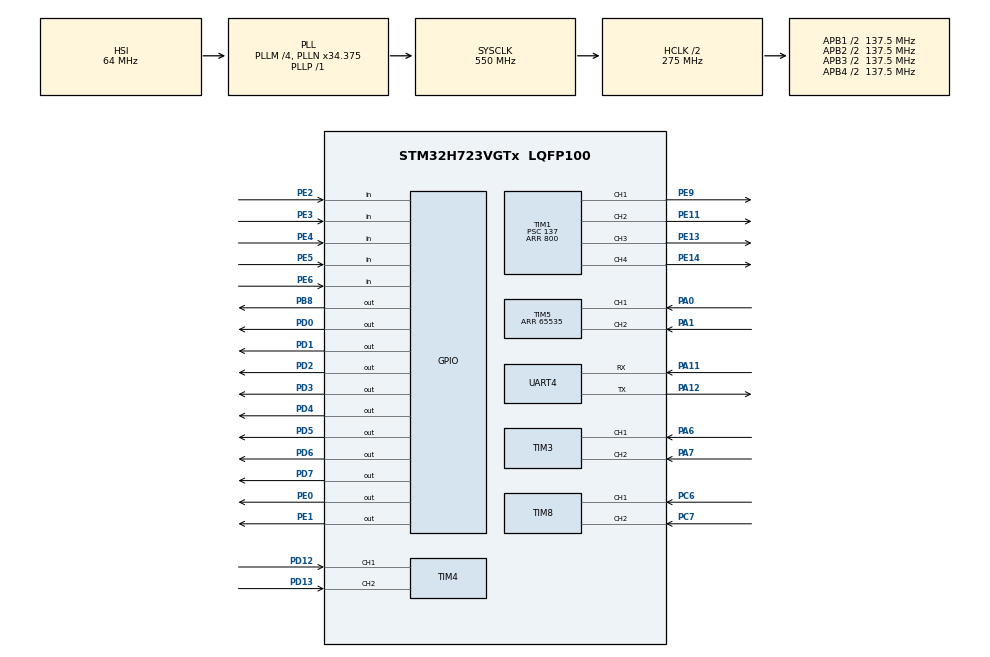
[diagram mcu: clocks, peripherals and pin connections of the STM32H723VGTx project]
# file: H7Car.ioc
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CORTEX_M7.default_mode_Activation=1
Dma.Request0=UART4_RX
Dma.Request1=UART4_TX
Dma.UART4_RX.0.Direction=DMA_PERIPH_TO_MEMORY
Dma.UART4_RX.0.EventEnable=DISABLE
Dma.UART4_RX.0.FIFOMode=DMA_FIFOMODE_DISABLE
Dma.UART4_RX.0.Instance=DMA1_Stream0
Dma.UART4_RX.0.MemDataAlignment=DMA_MDATAALIGN_BYTE
Dma.UART4_RX.0.MemInc=DMA_MINC_ENABLE
Dma.UART4_RX.0.Mode=DMA_CIRCULAR
Dma.UART4_RX.0.PeriphDataAlignment=DMA_PDATAALIGN_BYTE
Dma.UART4_RX.0.PeriphInc=DMA_PINC_DISABLE
Dma.UART4_RX.0.Polarity=HAL_DMAMUX_REQ_GEN_RISING
Dma.UART4_RX.0.Priority=DMA_PRIORITY_LOW
Dma.UART4_RX.0.RequestNumber=1
Dma.UART4_RX.0.SignalID=NONE
Dma.UART4_RX.0.SyncEnable=DISABLE
Dma.UART4_RX.0.SyncPolarity=HAL_DMAMUX_SYNC_NO_EVENT
Dma.UART4_RX.0.SyncRequestNumber=1
Dma.UART4_RX.0.SyncSignalID=NONE
Dma.UART4_TX.1.Direction=DMA_MEMORY_TO_PERIPH
Dma.UART4_TX.1.EventEnable=DISABLE
Dma.UART4_TX.1.FIFOMode=DMA_FIFOMODE_DISABLE
Dma.UART4_TX.1.Instance=DMA1_Stream7
Dma.UART4_TX.1.MemDataAlignment=DMA_MDATAALIGN_BYTE
Dma.UART4_TX.1.MemInc=DMA_MINC_ENABLE
Dma.UART4_TX.1.Mode=DMA_CIRCULAR
Dma.UART4_TX.1.PeriphDataAlignment=DMA_PDATAALIGN_BYTE
Dma.UART4_TX.1.PeriphInc=DMA_PINC_DISABLE
Dma.UART4_TX.1.Polarity=HAL_DMAMUX_REQ_GEN_RISING
Dma.UART4_TX.1.Priority=DMA_PRIORITY_LOW
Dma.UART4_TX.1.RequestNumber=1
Dma.UART4_TX.1.SignalID=NONE
Dma.UART4_TX.1.SyncEnable=DISABLE
Dma.UART4_TX.1.SyncPolarity=HAL_DMAMUX_SYNC_NO_EVENT
Dma.UART4_TX.1.SyncRequestNumber=1
Dma.UART4_TX.1.SyncSignalID=NONE
Mcu.Family=STM32H7
Mcu.Name=STM32H723VGTx
Mcu.Package=LQFP100
NVIC.DMA1_Stream0_IRQn=true\:0\:0\:false\:false\:true\:false\:true\:true
NVIC.DMA1_Stream7_IRQn=true\:0\:0\:false\:false\:true\:false\:true\:true
NVIC.PriorityGroup=NVIC_PRIORITYGROUP_4
NVIC.TIM6_DAC_IRQn=true\:0\:0\:false\:false\:true\:true\:true\:true
PA0.Signal=S_TIM5_CH1
PA1.Signal=S_TIM5_CH2
PA11.Mode=Asynchronous
PA11.Signal=UART4_RX
PA12.Mode=Asynchronous
PA12.Signal=UART4_TX
PA6.Signal=S_TIM3_CH1
PA7.Signal=S_TIM3_CH2
PB8.Signal=GPIO_Output
PC6.Signal=S_TIM8_CH1
PC7.Signal=S_TIM8_CH2
PD0.Signal=GPIO_Output
PD1.Signal=GPIO_Output
PD12.Signal=S_TIM4_CH1
PD13.Signal=S_TIM4_CH2
PD2.Signal=GPIO_Output
PD3.Signal=GPIO_Output
PD4.Signal=GPIO_Output
PD5.Signal=GPIO_Output
PD6.Signal=GPIO_Output
PD7.Signal=GPIO_Output
PE0.GPIO_ModeDefaultOutputPP=GPIO_MODE_OUTPUT_OD
PE0.GPIO_PuPd=GPIO_NOPULL
PE0.Signal=GPIO_Output
PE1.Signal=GPIO_Output
PE11.GPIO_Speed=GPIO_SPEED_FREQ_VERY_HIGH
PE11.Signal=S_TIM1_CH2
PE13.GPIO_Speed=GPIO_SPEED_FREQ_VERY_HIGH
PE13.Signal=S_TIM1_CH3
PE14.Signal=S_TIM1_CH4
PE2.Signal=GPIO_Input
PE3.Signal=GPIO_Input
PE4.Signal=GPIO_Input
PE5.Signal=GPIO_Input
PE6.Signal=GPIO_Input
PE9.GPIO_Speed=GPIO_SPEED_FREQ_VERY_HIGH
PE9.Signal=S_TIM1_CH1
PH0-OSC_IN.Mode=HSE-External-Oscillator
PH0-OSC_IN.Signal=RCC_OSC_IN
PH1-OSC_OUT.Mode=HSE-External-Oscillator
PH1-OSC_OUT.Signal=RCC_OSC_OUT
ProjectManager.HeapSize=0x200
ProjectManager.StackSize=0x400
ProjectManager.TargetToolchain=MDK-ARM V5.32
RCC.ADCFreq_Value=129000000
RCC.APB1Freq_Value=137500000
RCC.APB2Freq_Value=137500000
RCC.APB3Freq_Value=137500000
RCC.APB4Freq_Value=137500000
RCC.CortexFreq_Value=550000000
RCC.D1PPRE=RCC_APB3_DIV2
RCC.D2PPRE1=RCC_APB1_DIV2
RCC.D2PPRE2=RCC_APB2_DIV2
RCC.D3PPRE=RCC_APB4_DIV2
RCC.DIVM1=4
RCC.DIVN1=34
RCC.DIVP1=1
RCC.HCLKFreq_Value=275000000
RCC.HPRE=RCC_HCLK_DIV2
RCC.PLL2FRACN=0
RCC.PLL3FRACN=0
RCC.PLLFRACN=3072
RCC.SYSCLKFreq_VALUE=550000000
RCC.SYSCLKSource=RCC_SYSCLKSOURCE_PLLCLK
RCC.USBFreq_Value=275000000
SH.S_TIM1_CH1.0=TIM1_CH1,PWM Generation1 CH1
SH.S_TIM1_CH2.0=TIM1_CH2,PWM Generation2 CH2
SH.S_TIM1_CH3.0=TIM1_CH3,PWM Generation3 CH3
SH.S_TIM1_CH4.0=TIM1_CH4,PWM Generation4 CH4
SH.S_TIM3_CH1.0=TIM3_CH1,Encoder_Interface
SH.S_TIM3_CH2.0=TIM3_CH2,Encoder_Interface
SH.S_TIM4_CH1.0=TIM4_CH1,Encoder_Interface
SH.S_TIM4_CH2.0=TIM4_CH2,Encoder_Interface
SH.S_TIM5_CH1.0=TIM5_CH1,Encoder_Interface
SH.S_TIM5_CH2.0=TIM5_CH2,Encoder_Interface
SH.S_TIM8_CH1.0=TIM8_CH1,Encoder_Interface
SH.S_TIM8_CH2.0=TIM8_CH2,Encoder_Interface
TIM1.AutoReloadPreload=TIM_AUTORELOAD_PRELOAD_ENABLE
TIM1.Channel-PWM\ Generation1\ CH1=TIM_CHANNEL_1
TIM1.Channel-PWM\ Generation2\ CH2=TIM_CHANNEL_2
TIM1.Channel-PWM\ Generation3\ CH3=TIM_CHANNEL_3
TIM1.Channel-PWM\ Generation4\ CH4=TIM_CHANNEL_4
TIM1.CounterMode=TIM_COUNTERMODE_UP
TIM1.Period=800
TIM1.Prescaler=137
TIM2.AutoReloadPreload=TIM_AUTORELOAD_PRELOAD_ENABLE
TIM2.CounterMode=TIM_COUNTERMODE_CENTERALIGNED1
TIM2.Period=4294967294
TIM3.AutoReloadPreload=TIM_AUTORELOAD_PRELOAD_ENABLE
TIM4.AutoReloadPreload=TIM_AUTORELOAD_PRELOAD_ENABLE
TIM5.AutoReloadPreload=TIM_AUTORELOAD_PRELOAD_ENABLE
TIM5.Period=65535
TIM6.AutoReloadPreload=TIM_AUTORELOAD_PRELOAD_ENABLE
TIM6.Period=999
TIM6.Prescaler=274
TIM8.AutoReloadPreload=TIM_AUTORELOAD_PRELOAD_ENABLE
VP_MEMORYMAP_VS_MEMORYMAP.Mode=CurAppReg
VP_TIM2_VS_ClockSourceINT.Mode=Internal
VP_TIM6_VS_ClockSourceINT.Mode=Enable_Timer
board=custom

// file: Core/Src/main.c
/* USER CODE BEGIN Header */
/**
 ******************************************************************************
 * @file           : main.c
 * @brief          : Main program body
 ******************************************************************************
 * @attention      :2025.5.3 电赛选拔
 *
 * 0.未完成部分：
 *   调参
 *   蜂鸣器没弄 （你在Task函数内加 让他响一下就行）
 *   一定要看完所有的文件以及注释之后你再着手修改 别懂一半就改 容易出问题
 *   检测模式用旋钮编码器切换模式
 *   有啥问题和我反馈 别自己调了无用功
 *   中断函数和Task文件 俩个进行交互需要extern的 不要乱写 不会就问 报错了就跟我说 查ai也行
 *   所有电机的正反转没有去校正 你需要校正 陀螺仪也需要用串口的上位机校准 如何使用这个陀螺仪你来学(JY61P 型号) 我不想搞了
 *   按照我这个接线 实在看不懂接线 那你总能看懂代码把 自己想办法改 CUBEMX都有哪个引脚 我没备注就是了
 *   OLED我没写它的使用 你要写你就开一个新的中断来更新屏幕 软件iic的 别搞其他花活
 *
 * 1. 所有全局变量的定义or声明都在各个.h文件中（包括main.h的几个变量）。各个结构体也是
 *
 * 2. 代码存在位置：（每一个对应的头文件都有写代码）
 *    1. 陀螺仪的：Gyroscope.c （需要调试 以及校准到0）
 *    2. 循迹模块：Sensor.c   （循迹模块以及对应的权重output修改）
 *    3. 输出计算：PID.c      （PID计算 两环 没调参  以及各个运行模式的pwm计算函数）
 *    4. 编码器的：Encoder.c （电机编码器和旋钮编码器）
 *    5. 屏幕显示：OLED.c （软件IIC 计数1000刷新 写在while循环里）
 *    6. 主函数的：main.c （这里面只写了类状态机的任务执行 .h内没文件）
 *    7. 自制时钟：Delay.c（32位 71分钟才能完成一次）
 *    8. 电机控制：Motor.c（电机正反转基础在这里写的）
 *    9. 中断调用：stm32h7xx_it.c 中断触发函数 （最下面 好好找） （和Task执行函数相互照应）
 *    10.任务执行：Task.c  所有的执行（Task.c中是执行逻辑 中断中是数据接收处理逻辑 看代码的时候要俩一起看 一起改）
 *
 * 3.统计外设使用情况（引脚自己去cube里面找 我在代码里面是能找到引脚咋使用的）
 *    1.陀螺仪 UART4 带了DMA以及终端数据接收以及处理
 *    2.Motor TIM1 以及八个控制正反转的gpio PD0-PD7
 *    3.Encoder TIM3 TIM4 TIM5 TIM8 各两个引脚   旋钮编码器LPTIM2（可能有bug）
 *    4.Delay TIM2 32位的 不会溢出
 *    5.其他就是gpio输入输出引脚
 *
 * 4.中断使用情况 （TIM原生为275MHZ）（优先级没指定 都是0）
 *    1.陀螺仪处理的dma完成触发中断
 *    2.1ms中断进行编码器读数 pwm输出 （TIM6）
 *
 *
 *
 * Copyright (c) 2024 STMicroelectronics.
 * All rights reserved.
 *
 * This software is licensed under terms that can be found in the LICENSE file
 * in the root directory of this software component.
 * If no LICENSE file comes with this software, it is provided AS-IS.
 *
 ******************************************************************************
 */
/* USER CODE END Header */
#include "main.h"
#include "dma.h"
#include "lptim.h"
#include "memorymap.h"
#include "tim.h"
#include "usart.h"
#include "gpio.h"

/* USER CODE BEGIN Includes */
#include "Delay.h"
#include "Encoder.h"
#include "Gyroscope.h"
#include "OLED.h"
#include "PID.h"
#include "Sensor.h"
#include "Motor.h"
#include "Task.h"
/* USER CODE END Includes */

void SystemClock_Config(void);
static void MPU_Config(void);

int main(void)
{

  /* MPU Configuration--------------------------------------------------------*/
  MPU_Config();

  /* MCU Configuration--------------------------------------------------------*/

  /* Reset of all peripherals, Initializes the Flash interface and the Systick. */
  HAL_Init();

  /* Configure the system clock */
  SystemClock_Config();

  /* Initialize all configured peripherals */
  MX_GPIO_Init();
  MX_DMA_Init();
  MX_TIM1_Init();
  MX_TIM2_Init();
  MX_UART4_Init();
  MX_TIM3_Init();
  MX_TIM4_Init();
  MX_TIM5_Init();
  MX_TIM8_Init();
  MX_TIM6_Init();
  MX_LPTIM2_Init();
  /* USER CODE BEGIN 2 */
  Gyroscope_Init();
  Encoder_Init();
  Motor_Init();
  HAL_TIM_Base_Start_IT(&htim6);

  OLED_Init();
  HAL_Delay(100);
  OLED_Clear();
  /* USER CODE END 2 */

  /* Infinite loop */
  while (1)
  {

    /* USER CODE BEGIN 3 */

    // 所有的任务都在这个函数里面 所以while循环会一直在这个函数内部执行 所以除了这个函数别的什么都不要写进while循环 如果需要oled屏幕显示的话 需要自己配置定时器中断显示 20hz就行
    // 这个代码需要旋钮编码器来选择模式 记得安装一个 任务执行只能1 2 3的顺序 通过旋转编码器选择模式  不能乱序执行 ||若要测试特定的就拧到对应位置测一次 然后断电|| 重复此前操作可以测试第二次 亦或者你直接把某个值写成对应的数据也可以
    void Task_solver();
    // Task2();
    // Motor_Control(600,600);
    // Task_Flag = 2;
    // Task_Count = 2;
    Motor_Control(Dual_PID_Calculate(&ctrl,0,encoder_L1.filtered_rpm,SPEED_LOOP,0.001), Dual_PID_Calculate(&ctrl,0,encoder_R1.filtered_rpm,SPEED_LOOP,0.001));
  }
  /* USER CODE END 3 */
}

void SystemClock_Config(void)
{
  RCC_OscInitTypeDef RCC_OscInitStruct = {0};
  RCC_ClkInitTypeDef RCC_ClkInitStruct = {0};

  /** Supply configuration update enable
  */
  HAL_PWREx_ConfigSupply(PWR_LDO_SUPPLY);

  /** Configure the main internal regulator output voltage
  */
  __HAL_PWR_VOLTAGESCALING_CONFIG(PWR_REGULATOR_VOLTAGE_SCALE0);

  while(!__HAL_PWR_GET_FLAG(PWR_FLAG_VOSRDY)) {}

  /** Initializes the RCC Oscillators according to the specified parameters
  * in the RCC_OscInitTypeDef structure.
  */
  RCC_OscInitStruct.OscillatorType = RCC_OSCILLATORTYPE_HSI;
  RCC_OscInitStruct.HSIState = RCC_HSI_DIV1;
  RCC_OscInitStruct.HSICalibrationValue = 64;
  RCC_OscInitStruct.PLL.PLLState = RCC_PLL_ON;
  RCC_OscInitStruct.PLL.PLLSource = RCC_PLLSOURCE_HSI;
  RCC_OscInitStruct.PLL.PLLM = 4;
  RCC_OscInitStruct.PLL.PLLN = 34;
  RCC_OscInitStruct.PLL.PLLP = 1;
  RCC_OscInitStruct.PLL.PLLQ = 2;
  RCC_OscInitStruct.PLL.PLLR = 2;
  RCC_OscInitStruct.PLL.PLLRGE = RCC_PLL1VCIRANGE_3;
  RCC_OscInitStruct.PLL.PLLVCOSEL = RCC_PLL1VCOWIDE;
  RCC_OscInitStruct.PLL.PLLFRACN = 3072;
  if (HAL_RCC_OscConfig(&RCC_OscInitStruct) != HAL_OK)
  {
    Error_Handler();
  }

  /** Initializes the CPU, AHB and APB buses clocks
  */
  RCC_ClkInitStruct.ClockType = RCC_CLOCKTYPE_HCLK|RCC_CLOCKTYPE_SYSCLK
                              |RCC_CLOCKTYPE_PCLK1|RCC_CLOCKTYPE_PCLK2
                              |RCC_CLOCKTYPE_D3PCLK1|RCC_CLOCKTYPE_D1PCLK1;
  RCC_ClkInitStruct.SYSCLKSource = RCC_SYSCLKSOURCE_PLLCLK;
  RCC_ClkInitStruct.SYSCLKDivider = RCC_SYSCLK_DIV1;
  RCC_ClkInitStruct.AHBCLKDivider = RCC_HCLK_DIV2;
  RCC_ClkInitStruct.APB3CLKDivider = RCC_APB3_DIV2;
  RCC_ClkInitStruct.APB1CLKDivider = RCC_APB1_DIV2;
  RCC_ClkInitStruct.APB2CLKDivider = RCC_APB2_DIV2;
  RCC_ClkInitStruct.APB4CLKDivider = RCC_APB4_DIV2;

  if (HAL_RCC_ClockConfig(&RCC_ClkInitStruct, FLASH_LATENCY_3) != HAL_OK)
  {
    Error_Handler();
  }
}

 /* MPU Configuration */

void MPU_Config(void)
{
  MPU_Region_InitTypeDef MPU_InitStruct = {0};

  /* Disables the MPU */
  HAL_MPU_Disable();

  /** Initializes and configures the Region and the memory to be protected
  */
  MPU_InitStruct.Enable = MPU_REGION_ENABLE;
  MPU_InitStruct.Number = MPU_REGION_NUMBER0;
  MPU_InitStruct.BaseAddress = 0x0;
  MPU_InitStruct.Size = MPU_REGION_SIZE_4GB;
  MPU_InitStruct.SubRegionDisable = 0x87;
  MPU_InitStruct.TypeExtField = MPU_TEX_LEVEL0;
  MPU_InitStruct.AccessPermission = MPU_REGION_NO_ACCESS;
  MPU_InitStruct.DisableExec = MPU_INSTRUCTION_ACCESS_DISABLE;
  MPU_InitStruct.IsShareable = MPU_ACCESS_SHAREABLE;
  MPU_InitStruct.IsCacheable = MPU_ACCESS_NOT_CACHEABLE;
  MPU_InitStruct.IsBufferable = MPU_ACCESS_NOT_BUFFERABLE;

  HAL_MPU_ConfigRegion(&MPU_InitStruct);
  /* Enables the MPU */
  HAL_MPU_Enable(MPU_PRIVILEGED_DEFAULT);

}

void Error_Handler(void)
{
  __disable_irq();
  while (1)
  {
  }
}
